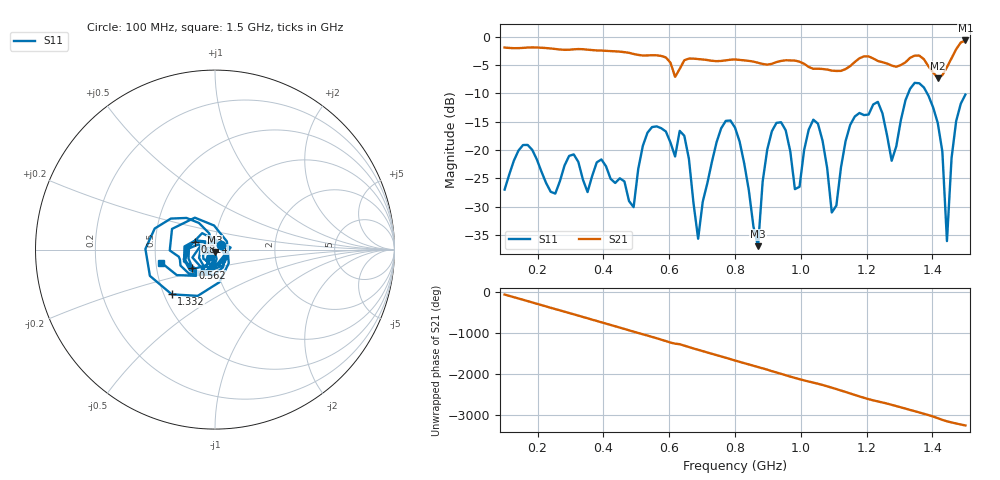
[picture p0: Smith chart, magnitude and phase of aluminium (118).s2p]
! NanoVNA-App
! Date: 2025-09-25 14:56:11
! Start: 100MHz Stop: 1,5GHz Points: 101
! S-Parameter data: F S11 S21 S12 S22
# Hz S RI R 50
!  Frequency  S11_Real  S11_Imag  S21_Real  S21_Imag  S12_Real  S12_Imag  S22_Real  S22_Imag
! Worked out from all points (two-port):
!   101 points, 100 MHz to 1.5 GHz, reference 50 ohm
!   highest |S21| = -0.67 dB at 1.5 GHz (marker M1); lowest = -7.3 dB at 1.416 GHz (marker M2)
!   |S21| within 3 dB of the highest: start of sweep to 590 MHz; 1.459 GHz to end of sweep (the widest 2 of 4)
!   lowest |S11| = -37.0 dB at 870 MHz (marker M3), VSWR 1.03, Z = 49.9 - j1.41 ohm
!   |S11| at or under -10 dB: start of sweep to 1.326 GHz; 1.384 GHz to end of sweep
!   S12 and S22 are empty: the file has one direction only
!   S11 on the Smith chart (normalised r, x): 100 MHz: 1.07, +0.06; 562 MHz: 0.76, -0.16; 814 MHz: 0.80, +0.07; 1.332 GHz: 0.55, -0.31; 1.5 GHz: 0.53, -0.09
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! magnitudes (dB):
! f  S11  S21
! 100 MHz  -27.0  -1.9
! 338 MHz  -25.2  -2.2
! 492 MHz  -30.1  -3.1
! 562 MHz  -15.8  -3.3
! 576 MHz  -16.2  -3.4
! 646 MHz  -17.5  -4.2
! 688 MHz  -35.7  -4.0
! 800 MHz  -16.0  -4.0
! 814 MHz  -18.5  -4.1
! 870 MHz  -37.0  -4.6
! 912 MHz  -16.7  -4.8
! 982 MHz  -26.9  -4.2
! 1.038 GHz  -14.7  -5.7
! 1.094 GHz  -31.0  -6.0
! 1.164 GHz  -14.1  -4.5
! 1.234 GHz  -11.5  -4.3
! 1.276 GHz  -21.9  -5.1
! 1.332 GHz  -9.2  -3.7
! 1.416 GHz  -15.2  -7.3
! 1.444 GHz  -36.1  -5.4
! 1.472 GHz  -14.9  -2.2
! 1.5 GHz  -10.2  -0.7
